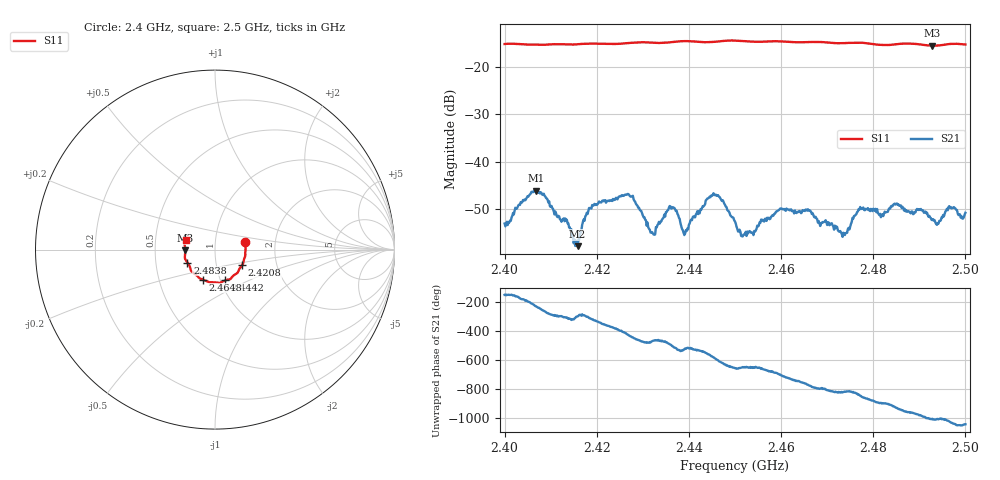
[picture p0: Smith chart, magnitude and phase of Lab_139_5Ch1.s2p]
# Hz S RI R 50
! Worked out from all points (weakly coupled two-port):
!   601 points, 2.4 GHz to 2.5 GHz, reference 50 ohm
!   highest |S21| = -46.07 dB at 2.4068 GHz (marker M1); lowest = -57.7 dB at 2.4158 GHz (marker M2)
!   lowest |S11| = -15.6 dB at 2.4928 GHz (marker M3), VSWR 1.40, Z = 35.8 - j0.348 ohm
!   |S11| at or under -10 dB: start of sweep to end of sweep
!   S12 and S22 are empty: the file has one direction only
!   S11 on the Smith chart (normalised r, x): 2.4 GHz: 1.40, +0.12; 2.4208 GHz: 1.33, -0.24; 2.4442 GHz: 1.05, -0.37; 2.4648 GHz: 0.83, -0.29; 2.4838 GHz: 0.73, -0.11; 2.5 GHz: 0.72, +0.08
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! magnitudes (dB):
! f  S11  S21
! 2.4 GHz  -15.3  -53.0
! 2.4068 GHz  -15.4  -46.1
! 2.4158 GHz  -15.3  -57.7
! 2.4167 GHz  -15.2  -54.4
! 2.4208 GHz  -15.2  -48.5
! 2.4273 GHz  -15.0  -47.3
! 2.432 GHz  -15.0  -54.8
! 2.4333 GHz  -15.0  -53.1
! 2.4363 GHz  -14.9  -49.7
! 2.4393 GHz  -14.6  -54.4
! 2.4442 GHz  -14.9  -47.7
! 2.4463 GHz  -14.7  -47.0
! 2.45 GHz  -14.5  -52.5
! 2.452 GHz  -14.7  -55.3
! 2.4648 GHz  -14.9  -50.2
! 2.4667 GHz  -14.8  -51.0
! 2.4737 GHz  -15.1  -55.0
! 2.4773 GHz  -15.0  -49.9
! 2.4833 GHz  -15.5  -50.0
! 2.4838 GHz  -15.4  -49.4
! 2.4928 GHz  -15.6  -52.3
! 2.5 GHz  -15.4  -50.7
